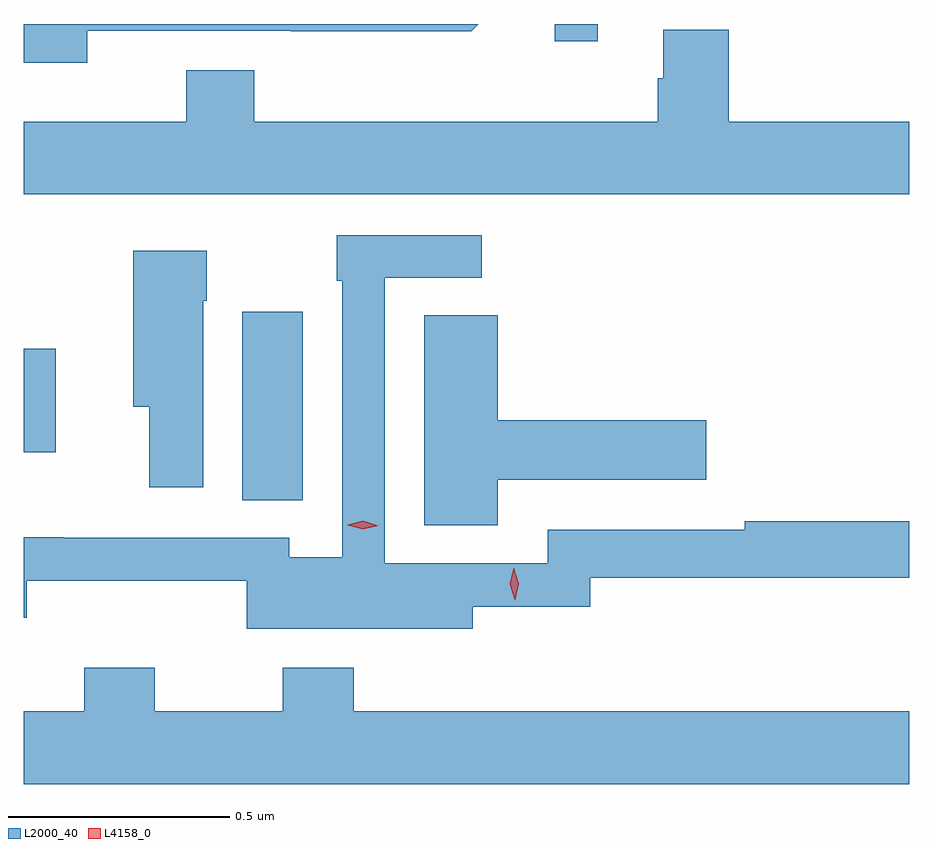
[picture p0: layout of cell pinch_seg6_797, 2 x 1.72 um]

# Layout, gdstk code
import gdstk
lib = gdstk.Library(unit=1e-6, precision=1e-09)
def R(c, l, rs):  # rectangles x0, y0, x1, y1
    for r in rs: c.add(gdstk.rectangle(r[:2], r[2:], *l))
def P(c, l, *ps):  # polygons
    for p in ps: c.add(gdstk.Polygon(p, *l))
L2000_40 = (2000, 40)
L4158_0 = (4158, 0)

pinch_seg6_797 = lib.new_cell('pinch_seg6_797')
R(pinch_seg6_797, L2000_40, [(328.52,985.273,328.657,985.699), (328.027,985.382,328.099,985.615), (329.226,986.31,329.323,986.349)])
P(pinch_seg6_797, L2000_40, [(328.17,986.334),(328.63,986.334),(328.63,986.333),(329.038,986.333),(329.054,986.349),(328.027,986.349),(328.027,986.261),(328.17,986.261)],
  [(330.027,986.128),(329.619,986.128),(329.619,986.336),(329.471,986.336),(329.471,986.226),(329.459,986.226),(329.459,986.128),(328.547,986.128),(328.547,986.245),(328.394,986.245),(328.394,986.128),(328.027,986.128),(328.027,985.964),(330.027,985.964)],
  [(329.041,985.033),(329.307,985.033),(329.307,985.098),(330.027,985.098),(330.027,985.226),(329.656,985.226),(329.656,985.206),(329.211,985.206),(329.211,985.131),(328.842,985.131),(328.842,985.776),(329.062,985.776),(329.062,985.872),(328.734,985.872),(328.734,985.769),(328.746,985.769),(328.746,985.144),(328.626,985.144),(328.626,985.188),(328.117,985.188),(328.117,985.19),(328.027,985.19),(328.027,985.008),(328.034,985.008),(328.034,985.091),(328.53,985.091),(328.53,984.983),(329.041,984.983)],
  [(328.432,985.724),(328.44,985.724),(328.44,985.837),(328.274,985.837),(328.274,985.484),(328.31,985.484),(328.31,985.302),(328.432,985.302)],
  [(329.098,985.319),(329.569,985.319),(329.569,985.454),(329.098,985.454),(329.098,985.691),(328.931,985.691),(328.931,985.217),(329.098,985.217)],
  [(330.027,984.796),(328.772,984.796),(328.772,984.895),(328.612,984.895),(328.612,984.796),(328.323,984.796),(328.323,984.895),(328.163,984.895),(328.163,984.796),(328.027,984.796),(328.027,984.632),(330.027,984.632)])
P(pinch_seg6_797, L4158_0, [(329.136,985.048),(329.125,985.084),(329.134,985.12),(329.134,985.12),(329.134,985.12),(329.145,985.084),(329.137,985.048),(329.137,985.048)],
  [(328.793,985.207),(328.759,985.217),(328.759,985.218),(328.759,985.218),(328.794,985.227),(328.828,985.216),(328.828,985.216),(328.828,985.216)])

lib.write_gds('pinch_seg6_797.gds')
